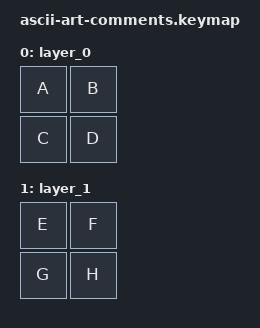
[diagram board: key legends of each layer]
/*
 * Hard .keymap corpus: // and /* & */ inside bindings, ASCII-art grid.
 * Covers R2-1 (tokenize bindings from the comment mask).
 */

#include <behaviors.dtsi>
#include <dt-bindings/zmk/keys.h>

/ {
    keymap {
        compatible = "zmk,keymap";

        layer_0 {
            bindings = <
/*  +---+---+
 *  | & | & |
 *  +---+---+ */
&kp A &kp B
&kp C &kp D
            >;
        };

        layer_1 {
            bindings = <
&kp E &kp F // tail &kp FAKE
/* L & R */ &kp G &kp H
            >;
        };
    };
};
